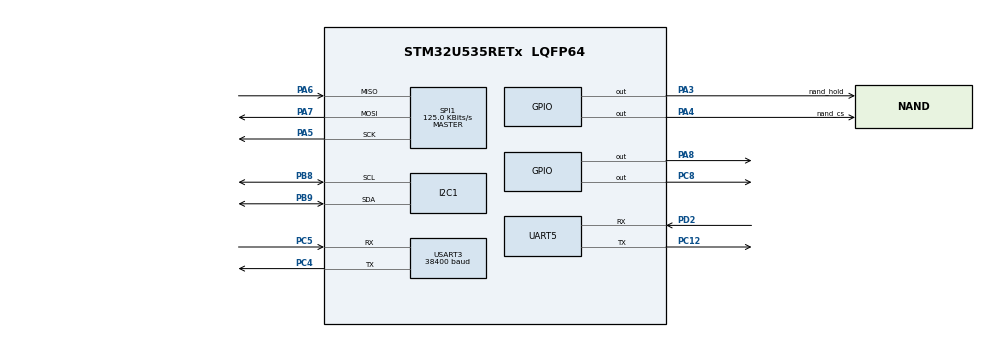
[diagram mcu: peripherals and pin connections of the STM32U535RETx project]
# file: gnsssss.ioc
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CORTEX_M33_NS.userName=CORTEX_M33
I2C1.Timing=0x00000E14
Mcu.Family=STM32U5
Mcu.Name=STM32U535RETx
Mcu.Package=LQFP64
NVIC.PriorityGroup=NVIC_PRIORITYGROUP_4
NVIC.UART5_IRQn=true\:0\:0\:false\:false\:true\:true\:true\:true
NVIC.USART3_IRQn=true\:0\:0\:false\:false\:true\:true\:true\:true
PA13\ (JTMS/SWDIO).Signal=DEBUG_JTMS-SWDIO
PA14\ (JTCK/SWCLK).Signal=DEBUG_JTCK-SWCLK
PA3.GPIO_Label=nand_hold
PA3.PinState=GPIO_PIN_SET
PA3.Signal=GPIO_Output
PA4.GPIO_Label=nand_cs
PA4.PinState=GPIO_PIN_SET
PA4.Signal=GPIO_Output
PA5.Mode=Full_Duplex_Master
PA5.Signal=SPI1_SCK
PA6.Mode=Full_Duplex_Master
PA6.Signal=SPI1_MISO
PA7.Mode=Full_Duplex_Master
PA7.Signal=SPI1_MOSI
PA8.PinState=GPIO_PIN_RESET
PA8.Signal=GPIO_Output
PB8.Mode=I2C
PB8.Signal=I2C1_SCL
PB9.Mode=I2C
PB9.Signal=I2C1_SDA
PC12.Mode=Asynchronous
PC12.Signal=UART5_TX
PC14-OSC32_IN\ (PC14).Mode=LSE-External-Oscillator
PC14-OSC32_IN\ (PC14).Signal=RCC_OSC32_IN
PC15-OSC32_OUT\ (PC15).Mode=LSE-External-Oscillator
PC15-OSC32_OUT\ (PC15).Signal=RCC_OSC32_OUT
PC4.Mode=Asynchronous
PC4.Signal=USART3_TX
PC5.Mode=Asynchronous
PC5.Signal=USART3_RX
PC8.PinState=GPIO_PIN_SET
PC8.Signal=GPIO_Output
PD2.Mode=Asynchronous
PD2.Signal=UART5_RX
PH0-OSC_IN\ (PH0).Mode=HSE-External-Oscillator
PH0-OSC_IN\ (PH0).Signal=RCC_OSC_IN
PH1-OSC_OUT\ (PH1).Mode=HSE-External-Oscillator
PH1-OSC_OUT\ (PH1).Signal=RCC_OSC_OUT
ProjectManager.HeapSize=0x200
ProjectManager.StackSize=0x400
ProjectManager.TargetToolchain=STM32CubeIDE
RCC.ADCFreq_Value=16000000
RCC.DACCLockSelectionVirtual=RCC_DAC1CLKSOURCE_LSI
RCC.DACCLockSelectionVirtualString=RCC_DAC1CLKSOURCE_LSI
RCC.EPOD_VALUE=4000000
RCC.HSE_VALUE=16000000
RCC.HSI48_VALUE=48000000
RCC.HSI_VALUE=16000000
RCC.LSIDIV_VALUE=32000
RCC.MSI_VALUE=4000000
RCC.USBFreq_Value=48000000
RCC.VCOOutputFreq_Value=516000000
SPI1.BaudRatePrescaler=SPI_BAUDRATEPRESCALER_32
SPI1.CLKPhase=SPI_PHASE_2EDGE
SPI1.CLKPolarity=SPI_POLARITY_HIGH
SPI1.CalculateBaudRate=125.0 KBits/s
SPI1.DataSize=SPI_DATASIZE_8BIT
SPI1.Direction=SPI_DIRECTION_2LINES
SPI1.Mode=SPI_MODE_MASTER
SPI1.VirtualType=VM_MASTER
USART3.BaudRate=38400
USART3.VirtualMode-Asynchronous=VM_ASYNC
VP_LPBAMQUEUE_VS_QUEUE.Mode=QUEUEMODE
VP_LPBAM_VS_SIG1.Mode=SmartRun
VP_LPBAM_VS_SIG4.Mode=LPDMA1
VP_MEMORYMAP_VS_MEMORYMAP.Mode=CurAppReg
VP_PWR_VS_SECSignals.Mode=Security/Privilege
board=custom

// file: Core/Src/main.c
/* USER CODE BEGIN Header */

/**
  ******************************************************************************
  * @file           : main.c
  * @brief          : Main program body
  ******************************************************************************
  * @attention
  *
  * Copyright (c) 2026 STMicroelectronics.
  * All rights reserved.
  *
  * This software is licensed under terms that can be found in the LICENSE file
  * in the root directory of this software component.
  * If no LICENSE file comes with this software, it is provided AS-IS.
  *
  ******************************************************************************
  */
/* USER CODE END Header */
#include "main.h"

/* USER CODE BEGIN Includes */
#include <string.h>
#include <stdio.h>
#include <stdlib.h>
#include "nand.h"
#include "lfs.h"
#include "lfs_port.h"
/* USER CODE END Includes */

I2C_HandleTypeDef hi2c1;

SPI_HandleTypeDef hspi1;

UART_HandleTypeDef huart5;
UART_HandleTypeDef huart3;

/* USER CODE BEGIN PV */
#define RX_BUFFER_SIZE 300
uint8_t rx_char;   //stores one received UART character.
char rx_buffer[RX_BUFFER_SIZE];
volatile uint16_t rx_index = 0;//stores the current position inside rx_buffer

#define LIS2DH12_ADDR     (0x19 << 1)//Defines the I2C address
#define CTRL_REG1         0x20  //Accelerometer xyz enable
#define OUT_X_L           0x28

uint32_t last_output_time = 0;

char gps_date[16] = "NA";
char gps_time_ist[16] = "NA";
double latitude_dd = 0.0;
double longitude_dd = 0.0;         //Stores date time lon lat after gps parsing

uint8_t nand_id[3];                //Stores flsh id

lfs_file_t file;  //Creates a LittleFS file object.,,currently opened file
char current_file_name[32];

uint8_t gps_valid = 0;

uint8_t file_opened = 0;
char last_file_name[32] = "";

uint8_t command_mode = 0;     // 0 = logging, 1 = command mode
uint8_t cmd_char;

#define MAX_FILES 10

char file_list[MAX_FILES][32];   // store file names
uint8_t file_count = 0;

uint8_t read_mode = 0;   // 0 = normal, 1 = waiting for a/b/c

uint8_t delete_mode = 0;   // Controls file deletion selection.

uint8_t download_mode = 0;

volatile uint8_t delete_request = 0;
volatile uint8_t delete_index = 0;//Stores which file should be deleted.
volatile uint8_t list_request = 0;//Indicates that a file-list operation has been requested.

/* USER CODE END PV */

void SystemClock_Config(void);
static void MX_GPIO_Init(void);
static void MX_UART5_Init(void);
static void MX_USART3_UART_Init(void);
static void MX_I2C1_Init(void);
static void MX_SPI1_Init(void);
/* USER CODE BEGIN PFP */
void LIS2DH12_Init(void);
void LIS2DH12_Read(int16_t *x, int16_t *y, int16_t *z);

double NMEA_To_Decimal(char *coord);
void Parse_GNRMC(char *sentence);
void Increment_Date(char *date);

void Download_File_By_Index(uint8_t index);
void List_Files(void);
/* USER CODE END PFP */

/* USER CODE BEGIN 0 */
int _write(int file, char *ptr, int len)
{
    HAL_UART_Transmit(&huart5, (uint8_t*)ptr, len, HAL_MAX_DELAY);          // Redirects printf() to UART5.
    return len;

}
/* USER CODE END 0 */

int main(void)
{

  /* MCU Configuration--------------------------------------------------------*/

  /* Reset of all peripherals, Initializes the Flash interface and the Systick. */

	HAL_Init();

  /* Configure the system clock */
  SystemClock_Config();

  /* Initialize all configured peripherals */
  MX_GPIO_Init();
  MX_UART5_Init();
  MX_USART3_UART_Init();
  MX_I2C1_Init();
  MX_SPI1_Init();
  /* USER CODE BEGIN 2 */

  HAL_UART_Receive_IT(&huart3, (uint8_t*)&rx_char, 1);
  HAL_UART_Receive_IT(&huart5, &cmd_char, 1);

  HAL_GPIO_WritePin(GPIOA, GPIO_PIN_8, GPIO_PIN_SET);    // Makes WP pin HIGH.
  // Start GPS UART

  // NAND INIT
  NAND_Init();
  printf("NAND INIT DONE\r\n");

  uint8_t status = NAND_ReadStatus();
  printf("STATUS AFTER INIT = 0x%02X\r\n", status);
  //  READ ID
  NAND_ReadID(nand_id);

  // PRINT ID
  printf("NAND ID: %02X %02X %02X\r\n",
         nand_id[0], nand_id[1], nand_id[2]); // EF AA 21

  HAL_Delay(100);
  if (LittleFS_Init() != 0)
  {
      printf("LittleFS Init Failed\r\n");

      printf("Formatting...\r\n");

      if (LittleFS_Format() != 0)
      {
          printf("Format Failed\r\n");
          Error_Handler();
      }

      printf("Format Done\r\n");

      // ⭐ ADD THIS BLOCK RIGHT HERE
      if (LittleFS_Init() != 0)
      {
          printf("Mount failed after format\r\n");
          Error_Handler();
      }

      printf("Mounted after format\r\n");
  }
  else
  {
      printf("LittleFS Mounted Successfully\r\n");
  }

  // Accelerometer init
  LIS2DH12_Init();

  HAL_Delay(100);

  /* USER CODE END 2 */

  /* Infinite loop */
  while (1)
  {

    /* USER CODE BEGIN 3 */
	    if (delete_request)
	    {
	        delete_request = 0;//don't want to delete the file repeatedly.

	        Delete_File_By_Index(delete_index);//which file to delete.
	    }

	    if (list_request)
	    {
	        list_request = 0;

	        List_Files();
	    }

	  if (!command_mode && (HAL_GetTick() - last_output_time >= 5000))
	  {
	         last_output_time = HAL_GetTick();

	         int16_t x, y, z;
	         LIS2DH12_Read(&x, &y, &z);

	         char log_line[200];

	         if(gps_valid)
	         {
	             sprintf(log_line,
	                     "DATE=%s TIME=%s LAT=%.6f LON=%.6f X=%d Y=%d Z=%d\r\n",
	                     gps_date, gps_time_ist,latitude_dd,longitude_dd, x, y, z);

	             printf("%s", log_line);
	         }
	         else
	         {
	             printf("Waiting for GPS fix...\r\n");
	             continue;
	         }

	         if(gps_valid && strlen(gps_date) > 5)   //GPS date string must contain more than 5 characters
	         {
	        	 char dd[3];
	        	 char mm[3];
	        	 char yyyy[5];

	        	 sscanf(gps_date, "%2s/%2s/%4s", dd,mm,yyyy);

	        	 sprintf(current_file_name,"/%s%s%s.txt",yyyy,mm, dd);//This creates your NAND filename.

	        	 //printf("FILENAME = %s\r\n", current_file_name);
	        	 if (!file_opened || strcmp(last_file_name, current_file_name) != 0)
	        	 {
	        	     if (file_opened)//If there is already an open file, close it.
	        	     {
	        	         lfs_file_close(&lfs, &file);
	        	       //  printf("OLD FILE CLOSED\r\n");
	        	         file_opened = 0;
	        	     }

	        	    // printf("Opening file: %s\r\n", current_file_name);
	        	    // printf("Before open\r\n");

	        	     //Open this file so I can append new data to it
	        	     int res_open = lfs_file_open( &lfs, &file,current_file_name, LFS_O_WRONLY | LFS_O_CREAT | LFS_O_APPEND);

	        	    // printf("After open\r\n");
	        	    // printf("OPEN RES = %d\r\n", res_open);

	        	     if (res_open < 0)
	        	     {
	        	        // printf("FILE OPEN FAILED\r\n");
	        	         continue;
	        	     }

	        	     file_opened = 1;//A file is currently open.
	        	     strcpy(last_file_name, current_file_name); //copies cfn to lfn
	        	 }

	        	 // ✅ WRITE
	        	// printf("WRITE START\r\n");

	        	 int res_write = lfs_file_write(&lfs, &file, log_line, strlen(log_line));//writes your log data into the LittleFS file
	        	 //printf("WRITE RES = %d\r\n", res_write);

	        	 // ✅ SYNC
	        	 //printf("SYNC START\r\n");
	        	 int res_sync = lfs_file_sync(&lfs, &file);//Make sure the pending file changes are synchronized to the storage.

	        	 HAL_Delay(5);   // ⭐ IMPORTANT for NAND
	        	 //printf("SYNC RES = %d\r\n", res_sync);
	         }

	    }
  }
  /* USER CODE END 3 */
}

void SystemClock_Config(void)
{
  RCC_OscInitTypeDef RCC_OscInitStruct = {0};
  RCC_ClkInitTypeDef RCC_ClkInitStruct = {0};

  /** Configure the main internal regulator output voltage
  */
  if (HAL_PWREx_ControlVoltageScaling(PWR_REGULATOR_VOLTAGE_SCALE4) != HAL_OK)
  {
    Error_Handler();
  }

  /** Initializes the CPU, AHB and APB buses clocks
  */
  RCC_OscInitStruct.OscillatorType = RCC_OSCILLATORTYPE_MSI;
  RCC_OscInitStruct.MSIState = RCC_MSI_ON;
  RCC_OscInitStruct.MSICalibrationValue = RCC_MSICALIBRATION_DEFAULT;
  RCC_OscInitStruct.MSIClockRange = RCC_MSIRANGE_4;
  RCC_OscInitStruct.PLL.PLLState = RCC_PLL_NONE;
  if (HAL_RCC_OscConfig(&RCC_OscInitStruct) != HAL_OK)
  {
    Error_Handler();
  }

  /** Initializes the CPU, AHB and APB buses clocks
  */
  RCC_ClkInitStruct.ClockType = RCC_CLOCKTYPE_HCLK|RCC_CLOCKTYPE_SYSCLK
                              |RCC_CLOCKTYPE_PCLK1|RCC_CLOCKTYPE_PCLK2
                              |RCC_CLOCKTYPE_PCLK3;
  RCC_ClkInitStruct.SYSCLKSource = RCC_SYSCLKSOURCE_MSI;
  RCC_ClkInitStruct.AHBCLKDivider = RCC_SYSCLK_DIV1;
  RCC_ClkInitStruct.APB1CLKDivider = RCC_HCLK_DIV1;
  RCC_ClkInitStruct.APB2CLKDivider = RCC_HCLK_DIV1;
  RCC_ClkInitStruct.APB3CLKDivider = RCC_HCLK_DIV1;

  if (HAL_RCC_ClockConfig(&RCC_ClkInitStruct, FLASH_LATENCY_0) != HAL_OK)
  {
    Error_Handler();
  }
}

static void MX_I2C1_Init(void)
{

  hi2c1.Instance = I2C1;
  hi2c1.Init.Timing = 0x00000E14;
  hi2c1.Init.OwnAddress1 = 0;
  hi2c1.Init.AddressingMode = I2C_ADDRESSINGMODE_7BIT;
  hi2c1.Init.DualAddressMode = I2C_DUALADDRESS_DISABLE;
  hi2c1.Init.OwnAddress2 = 0;
  hi2c1.Init.OwnAddress2Masks = I2C_OA2_NOMASK;
  hi2c1.Init.GeneralCallMode = I2C_GENERALCALL_DISABLE;
  hi2c1.Init.NoStretchMode = I2C_NOSTRETCH_DISABLE;
  if (HAL_I2C_Init(&hi2c1) != HAL_OK)
  {
    Error_Handler();
  }

  /** Configure Analogue filter
  */
  if (HAL_I2CEx_ConfigAnalogFilter(&hi2c1, I2C_ANALOGFILTER_ENABLE) != HAL_OK)
  {
    Error_Handler();
  }

  /** Configure Digital filter
  */
  if (HAL_I2CEx_ConfigDigitalFilter(&hi2c1, 0) != HAL_OK)
  {
    Error_Handler();
  }

}

static void MX_SPI1_Init(void)
{

  SPI_AutonomousModeConfTypeDef HAL_SPI_AutonomousMode_Cfg_Struct = {0};

  /* SPI1 parameter configuration*/
  hspi1.Instance = SPI1;
  hspi1.Init.Mode = SPI_MODE_MASTER;
  hspi1.Init.Direction = SPI_DIRECTION_2LINES;
  hspi1.Init.DataSize = SPI_DATASIZE_8BIT;
  hspi1.Init.CLKPolarity = SPI_POLARITY_HIGH;
  hspi1.Init.CLKPhase = SPI_PHASE_2EDGE;
  hspi1.Init.NSS = SPI_NSS_SOFT;
  hspi1.Init.BaudRatePrescaler = SPI_BAUDRATEPRESCALER_16;
  hspi1.Init.FirstBit = SPI_FIRSTBIT_MSB;
  hspi1.Init.TIMode = SPI_TIMODE_DISABLE;
  hspi1.Init.CRCCalculation = SPI_CRCCALCULATION_DISABLE;
  hspi1.Init.CRCPolynomial = 0x7;
  hspi1.Init.NSSPMode = SPI_NSS_PULSE_DISABLE;
  hspi1.Init.NSSPolarity = SPI_NSS_POLARITY_LOW;
  hspi1.Init.FifoThreshold = SPI_FIFO_THRESHOLD_01DATA;
  hspi1.Init.MasterSSIdleness = SPI_MASTER_SS_IDLENESS_00CYCLE;
  hspi1.Init.MasterInterDataIdleness = SPI_MASTER_INTERDATA_IDLENESS_00CYCLE;
  hspi1.Init.MasterReceiverAutoSusp = SPI_MASTER_RX_AUTOSUSP_DISABLE;
  hspi1.Init.MasterKeepIOState = SPI_MASTER_KEEP_IO_STATE_DISABLE;
  hspi1.Init.IOSwap = SPI_IO_SWAP_DISABLE;
  hspi1.Init.ReadyMasterManagement = SPI_RDY_MASTER_MANAGEMENT_INTERNALLY;
  hspi1.Init.ReadyPolarity = SPI_RDY_POLARITY_HIGH;
  if (HAL_SPI_Init(&hspi1) != HAL_OK)
  {
    Error_Handler();
  }
  HAL_SPI_AutonomousMode_Cfg_Struct.TriggerState = SPI_AUTO_MODE_DISABLE;
  HAL_SPI_AutonomousMode_Cfg_Struct.TriggerSelection = SPI_GRP1_GPDMA_CH0_TCF_TRG;
  HAL_SPI_AutonomousMode_Cfg_Struct.TriggerPolarity = SPI_TRIG_POLARITY_RISING;
  if (HAL_SPIEx_SetConfigAutonomousMode(&hspi1, &HAL_SPI_AutonomousMode_Cfg_Struct) != HAL_OK)
  {
    Error_Handler();
  }

}

static void MX_UART5_Init(void)
{

  huart5.Instance = UART5;
  huart5.Init.BaudRate = 115200;
  huart5.Init.WordLength = UART_WORDLENGTH_8B;
  huart5.Init.StopBits = UART_STOPBITS_1;
  huart5.Init.Parity = UART_PARITY_NONE;
  huart5.Init.Mode = UART_MODE_TX_RX;
  huart5.Init.HwFlowCtl = UART_HWCONTROL_NONE;
  huart5.Init.OverSampling = UART_OVERSAMPLING_16;
  huart5.Init.OneBitSampling = UART_ONE_BIT_SAMPLE_DISABLE;
  huart5.Init.ClockPrescaler = UART_PRESCALER_DIV1;
  huart5.AdvancedInit.AdvFeatureInit = UART_ADVFEATURE_NO_INIT;
  if (HAL_UART_Init(&huart5) != HAL_OK)
  {
    Error_Handler();
  }
  if (HAL_UARTEx_SetTxFifoThreshold(&huart5, UART_TXFIFO_THRESHOLD_1_8) != HAL_OK)
  {
    Error_Handler();
  }
  if (HAL_UARTEx_SetRxFifoThreshold(&huart5, UART_RXFIFO_THRESHOLD_1_8) != HAL_OK)
  {
    Error_Handler();
  }
  if (HAL_UARTEx_DisableFifoMode(&huart5) != HAL_OK)
  {
    Error_Handler();
  }

}

static void MX_USART3_UART_Init(void)
{

  huart3.Instance = USART3;
  huart3.Init.BaudRate = 38400;
  huart3.Init.WordLength = UART_WORDLENGTH_8B;
  huart3.Init.StopBits = UART_STOPBITS_1;
  huart3.Init.Parity = UART_PARITY_NONE;
  huart3.Init.Mode = UART_MODE_TX_RX;
  huart3.Init.HwFlowCtl = UART_HWCONTROL_NONE;
  huart3.Init.OverSampling = UART_OVERSAMPLING_16;
  huart3.Init.OneBitSampling = UART_ONE_BIT_SAMPLE_DISABLE;
  huart3.Init.ClockPrescaler = UART_PRESCALER_DIV1;
  huart3.AdvancedInit.AdvFeatureInit = UART_ADVFEATURE_NO_INIT;
  if (HAL_UART_Init(&huart3) != HAL_OK)
  {
    Error_Handler();
  }
  if (HAL_UARTEx_SetTxFifoThreshold(&huart3, UART_TXFIFO_THRESHOLD_1_8) != HAL_OK)
  {
    Error_Handler();
  }
  if (HAL_UARTEx_SetRxFifoThreshold(&huart3, UART_RXFIFO_THRESHOLD_1_8) != HAL_OK)
  {
    Error_Handler();
  }
  if (HAL_UARTEx_DisableFifoMode(&huart3) != HAL_OK)
  {
    Error_Handler();
  }

}

static void MX_GPIO_Init(void)
{
  GPIO_InitTypeDef GPIO_InitStruct = {0};

  /* GPIO Ports Clock Enable */
  __HAL_RCC_GPIOC_CLK_ENABLE();
  __HAL_RCC_GPIOH_CLK_ENABLE();
  __HAL_RCC_GPIOA_CLK_ENABLE();
  __HAL_RCC_GPIOD_CLK_ENABLE();
  __HAL_RCC_GPIOB_CLK_ENABLE();

  /*Configure GPIO pin Output Level */
  HAL_GPIO_WritePin(GPIOA, nand_hold_Pin|nand_cs_Pin, GPIO_PIN_SET);

  /*Configure GPIO pin Output Level */
  HAL_GPIO_WritePin(GPIOC, GPIO_PIN_8, GPIO_PIN_SET);

  /*Configure GPIO pin Output Level */
  HAL_GPIO_WritePin(GPIOA, GPIO_PIN_8, GPIO_PIN_SET);

  /*Configure GPIO pins : nand_hold_Pin nand_cs_Pin PA8 */
  GPIO_InitStruct.Pin = nand_hold_Pin|nand_cs_Pin|GPIO_PIN_8;
  GPIO_InitStruct.Mode = GPIO_MODE_OUTPUT_PP;
  GPIO_InitStruct.Pull = GPIO_NOPULL;
  GPIO_InitStruct.Speed = GPIO_SPEED_FREQ_LOW;
  HAL_GPIO_Init(GPIOA, &GPIO_InitStruct);

  /*Configure GPIO pin : PC8 */
  GPIO_InitStruct.Pin = GPIO_PIN_8;
  GPIO_InitStruct.Mode = GPIO_MODE_OUTPUT_PP;
  GPIO_InitStruct.Pull = GPIO_NOPULL;
  GPIO_InitStruct.Speed = GPIO_SPEED_FREQ_LOW;
  HAL_GPIO_Init(GPIOC, &GPIO_InitStruct);

}

/* USER CODE BEGIN 4 */

void LIS2DH12_Init(void)
{
    uint8_t data;

    // 100Hz, XYZ enable
    data = 0x57;
    HAL_I2C_Mem_Write(&hi2c1,
                      LIS2DH12_ADDR,
                      CTRL_REG1,
                      I2C_MEMADD_SIZE_8BIT,
                      &data,
                      1,
                      HAL_MAX_DELAY);

    // High resolution, BDU enable, ±2g
    data = 0x88;
    HAL_I2C_Mem_Write(&hi2c1,
                      LIS2DH12_ADDR,
                      0x23,
                      I2C_MEMADD_SIZE_8BIT,
                      &data,
                      1,
                      HAL_MAX_DELAY);
}

void LIS2DH12_Read(int16_t *x, int16_t *y, int16_t *z)
{
    uint8_t rawData[6];
    int16_t raw_x, raw_y, raw_z;

    HAL_I2C_Mem_Read(&hi2c1,
                     LIS2DH12_ADDR,
                     OUT_X_L | 0x80,// auto incr
                     I2C_MEMADD_SIZE_8BIT,
                     rawData,
                     6,
                     HAL_MAX_DELAY);

    raw_x = (int16_t)((rawData[1] << 8) | rawData[0]);//ombines two 8-bit values into one 16-bit value
    raw_y = (int16_t)((rawData[3] << 8) | rawData[2]);
    raw_z = (int16_t)((rawData[5] << 8) | rawData[4]);

    // 12-bit data in high-resolution mode
    raw_x = raw_x / 16;//left-aligned 12-bit format within the 16-bit register pair.
    raw_y = raw_y / 16;
    raw_z = raw_z / 16;

    *x = raw_x;
    *y = raw_y;
    *z = raw_z;
}
double NMEA_To_Decimal(char *coord)
{
    double value;
    int degrees;
    double minutes;

    value = atof(coord);//ASCII to floating-point.
    degrees = (int)(value / 100);
    minutes = value - (degrees * 100);
    return degrees + (minutes / 60.0);
}

void Increment_Date(char *date)//moves a date forward by exactly one day
{
    int dd, mm, yyyy;
    int days_in_month;

    sscanf(date, "%2d/%2d/%4d", &dd, &mm, &yyyy);

    // Check number of days in current month
    switch (mm)//which month you're currently in
    {
        case 1:
        case 3:
        case 5:
        case 7:
        case 8:
        case 10:
        case 12:
            days_in_month = 31;
            break;

        case 4:
        case 6:
        case 9:
        case 11:
            days_in_month = 30;
            break;

        case 2:
            // Leap year check
            if ((yyyy % 400 == 0) ||
                ((yyyy % 4 == 0) && (yyyy % 100 != 0)))
            {
                days_in_month = 29;
            }
            else
            {
                days_in_month = 28;
            }
            break;

        default:
            return;
    }

    dd++;

    if (dd > days_in_month)
    {
        dd = 1;
        mm++;

        if (mm > 12)
        {
            mm = 1;
            yyyy++;
        }
    }

    sprintf(date, "%02d/%02d/%04d", dd, mm, yyyy);
}

void Parse_GNRMC (char *sentence)
{
	if(strlen(sentence) < 20) return;

    char temp[150];
    strcpy(temp, sentence);
    char *token;
    uint8_t field = 0;//which comma-separated field it is currently processing.
    char raw_time[20] = {0};//stores the GPS UTC time
    char raw_lat[20] = {0};//stores latitude in NMEA format
    char lat_dir = 'N';
    char raw_lon[20] = {0};
    char lon_dir = 'E';
    char status = 'V';
    char *ptr = temp;
    while((token = strsep(&ptr, ",")) != NULL)//separates a string using a delimiter.(,)
    {
        switch(field)
        {
            case 1:
                strcpy(raw_time, token);
                break;

            case 2:
                 status = token[0];   // ⭐ ADD THIS (VERY IMPORTANT)
                 break;

            case 3:
                strcpy(raw_lat, token);
                break;

            case 4:
                lat_dir = token[0];
                break;

            case 5:
                strcpy(raw_lon, token);
                break;

            case 6:
                lon_dir = token[0];
                break;

            case 9:
                if(strlen(token) == 6 && status == 'A')//25. Check date length and GPS status
                {
                    char dd[3], mm[3], yy[3];

                    strncpy(dd, token, 2);
                    dd[2] = '\0';

                    strncpy(mm, token + 2, 2);
                    mm[2] = '\0';

                    strncpy(yy, token + 4, 2);
                    yy[2] = '\0';

                    sprintf(gps_date, "%s/%s/20%s", dd, mm, yy);
                }
                break;
        }
        field++;
    }

    // Convert UTC to IST
    // ⭐ CHECK GPS VALIDITY
    if(status == 'A')
    {
        gps_valid = 1;
    }
    else
    {
        gps_valid = 0;
        return;   // 🚨 STOP updating invalid data
    }
    int hh, mm, ss;

    sscanf(raw_time, "%2d%2d%2d", &hh, &mm, &ss);

    /* UTC -> IST */
    hh += 5;
    mm += 30;

    if (mm >= 60)
    {
        mm -= 60;
        hh++;
    }

    if (hh >= 24)
    {
        hh -= 24;//midnight crossing

        // Move date to next day
        Increment_Date(gps_date);
    }

    sprintf(gps_time_ist, "%02d:%02d:%02d", hh, mm, ss);
    // Convert latitude & longitude
    if(strlen(raw_lat) > 0 && status == 'A')
    {
        latitude_dd = NMEA_To_Decimal(raw_lat);

        if(lat_dir == 'S')
        {
            latitude_dd = -latitude_dd;
        }
    }
    if(strlen(raw_lon) > 0 && status == 'A')
    {
        longitude_dd = NMEA_To_Decimal(raw_lon);

        if(lon_dir == 'W')
        {
            longitude_dd = -longitude_dd;
        }
    }
}
void List_Files(void)
{
    lfs_dir_t dir;//dir represents the folder being examined
    struct lfs_info info;//This structure is filled by LittleFS with information about each directory entry.

    file_count = 0;

    printf("\r\n--- FILE LIST START ---\r\n");

    if (lfs_dir_open(&lfs, &dir, "/") < 0)
    {
        printf("Failed to open directory\r\n");
        return;
    }

    char label = 'a';

    while (1)
    {
        int res = lfs_dir_read(&lfs, &dir, &info);//Give me the next item in this directory

        if (res <= 0)
            break;

        if (strcmp(info.name, ".") == 0 ||//. Current directory.
            strcmp(info.name, "..") == 0)//..  Parent directory.
        {
            continue;
        }

        if (info.type == LFS_TYPE_REG)
        {
            if (file_count < MAX_FILES)
            {
                strcpy(file_list[file_count], info.name);

                printf("%c. %s\r\n",
                       label,
                       file_list[file_count]);

                file_count++;
                label++;
            }
        }
    }

    lfs_dir_close(&lfs, &dir);

    printf("--- FILE LIST END ---\r\n");
    printf("Total files: %d\r\n", file_count);
}

void Read_File_By_Index(uint8_t index)//Take a file index, open that file from NAND, read its contents, and send the contents through UART.
{
    if (index >= file_count)
    {
        printf("Invalid file selection\r\n");
        return;
    }

    lfs_file_t rfile;

    if (lfs_file_open(&lfs, &rfile, file_list[index], LFS_O_RDONLY) < 0)//Open the file selected by index in read-only mode.
    {
        printf("File open failed\r\n");
        return;
    }

    printf("\r\n--- FILE DATA (%s) ---\r\n", file_list[index]);

    char buffer[64];
    int bytes;

    while ((bytes = lfs_file_read(&lfs, &rfile, buffer, sizeof(buffer)-1)) > 0)
    {
        buffer[bytes] = '\0';
        printf("%s", buffer);
    }

    lfs_file_close(&lfs, &rfile);

    printf("\r\n--- END OF FILE ---\r\n");
}

void Download_File_By_Index(uint8_t index)
{
    if(index >= file_count)
    {
        printf("Invalid file\r\n");
        return;
    }

    lfs_file_t dfile;//creates a LittleFS file object

    if(lfs_file_open(&lfs,
                     &dfile,
                     file_list[index],
                     LFS_O_RDONLY) < 0)
    {
        printf("Open failed\r\n");
        return;
    }

    printf("<START_FILE>\r\n");
    printf("FILENAME=%s\r\n", file_list[index]);

    char buffer[64];
    int bytes;

    while((bytes = lfs_file_read(&lfs,
                                 &dfile,
                                 buffer,
                                 sizeof(buffer))) > 0)//ittleFS will try to read up to 64 bytes at a time.
    {
        HAL_UART_Transmit(&huart5,
                          (uint8_t *)buffer,
                          bytes,
                          HAL_MAX_DELAY);
    }

    printf("\r\n<END_FILE>\r\n");

    lfs_file_close(&lfs,&dfile);
}

void Delete_File_By_Index(uint8_t index) //Delete a selected file from the LittleFS filesystem on the SPI NAND.
{
    if (index >= file_count)
    {
        printf("Invalid file selection\r\n");
        return;
    }

    char full_path[40];
    sprintf(full_path, "/%s", file_list[index]);

    // 🚨 If currently open → close it
    if (file_opened && strcmp(last_file_name, full_path) == 0)
    {
        lfs_file_close(&lfs, &file);
        file_opened = 0;
        last_file_name[0] = '\0';
    }

    int res = lfs_remove(&lfs, full_path);

    if (res < 0)
    {
        printf("Delete FAILED (%d): %s\r\n", res, full_path);
    }
    else
    {
        printf("Deleted: %s\r\n", full_path);
    }
}

void HAL_UART_RxCpltCallback(UART_HandleTypeDef *huart)
{
    if (huart->Instance == USART3)
    {
        if (rx_char == '$')// begin of nmea
        {
            rx_index = 0;//$ = 0
            rx_buffer[rx_index++] = rx_char;
        }
        else if (rx_char == '\n' || rx_char == '\r')//end
        {
            rx_buffer[rx_index] = '\0';

            //printf("LINE: %s\r\n", rx_buffer);

            if (strstr(rx_buffer, "$GNRMC") || strstr(rx_buffer, "$GPRMC"))//asks Does rx_buffer contain $GNRMC
            {
            	Parse_GNRMC(rx_buffer);
            }

            rx_index = 0;
        }
        else
        {
            if (rx_index < RX_BUFFER_SIZE - 1)//prevents the program from writing beyond the end of the buffer
            {
                rx_buffer[rx_index++] = rx_char;
            }
        }

        HAL_UART_Receive_IT(&huart3, (uint8_t*)&rx_char, 1);
    }
    if (huart->Instance == UART5)
    {
    	printf("RX CMD: %c\r\n", cmd_char);

    	if (cmd_char == '\r' || cmd_char == '\n')
    	{
    	    HAL_UART_Receive_IT(&huart5, &cmd_char, 1);
    	    return;
    	}

    	if (cmd_char == 'T')
    	{
    	    command_mode = 1;
    	    read_mode = 0; //sTM32 is not currently waiting for a file selection for reading.

    	    printf("\r\n--- COMMAND MODE ---\r\n");
    	    printf("1. List\r\n");
    	    printf("2. Read\r\n");
    	    printf("3. Delete\r\n");
    	    printf("4. Resume\r\n");
    	    printf("5. Download\r\n");
    	}
    	else if (command_mode)
    	{
    		if(read_mode || delete_mode || download_mode)
    		{
    		    if (cmd_char >= 'a' && cmd_char < ('a' + file_count))//character corresponds to one of the files currently listed
    		    {
    		        uint8_t index = cmd_char - 'a';//converts the user's letter into a numerical array index

    		        if(read_mode)
    		        {
    		            Read_File_By_Index(index);

    		            read_mode = 1;//waiting for another letter
    		        }
    		        else if(delete_mode)
    		        {
    		            delete_index = index;
    		            delete_request = 1;

    		            delete_mode = 1;
    		        }
    		        else if(download_mode)
    		        {
    		            Download_File_By_Index(index);

    		            download_mode = 1;
    		        }
    		    }
    		    else
    		    {
    		        printf("Invalid selection\r\n");
    		    }
    		}
    	    else
    	    {
    	        switch(cmd_char)//NOT waiting for a/b/c
    	        {
    	            case '1':
    	                list_request = 1;
    	                break;

    	            case '2':
    	                printf("\r\n--- SELECT FILE TO READ ---\r\n");
    	                List_Files();

    	                printf("Total files: %d\r\n", file_count);

    	                read_mode = 1;
    	                break;

    	            case '3':
    	                printf("\r\n--- SELECT FILE TO DELETE ---\r\n");
    	                List_Files();

    	                printf("Enter option (a/b/c...)\r\n");

    	                delete_mode = 1;
    	                break;

    	            case '4':
    	                printf("Resuming logging...\r\n");
    	                command_mode = 0;
    	                read_mode = 0;
    	                delete_mode = 0;
    	                download_mode = 0;
    	                last_output_time = HAL_GetTick();
    	                break;

    	            case '5':

    	                printf("\r\n--- SELECT FILE TO DOWNLOAD ---\r\n");

    	                List_Files();

    	                printf("Enter option (a/b/c...)\r\n");

    	                download_mode = 1;

    	                break;

    	            default:
    	                printf("Invalid option\r\n");
    	                break;
    	        }
    	    }
    	}

        HAL_UART_Receive_IT(&huart5, &cmd_char, 1);
    }
}

/* USER CODE END 4 */

void Error_Handler(void)
{
  __disable_irq();
  while (1)
  {
  }
}
